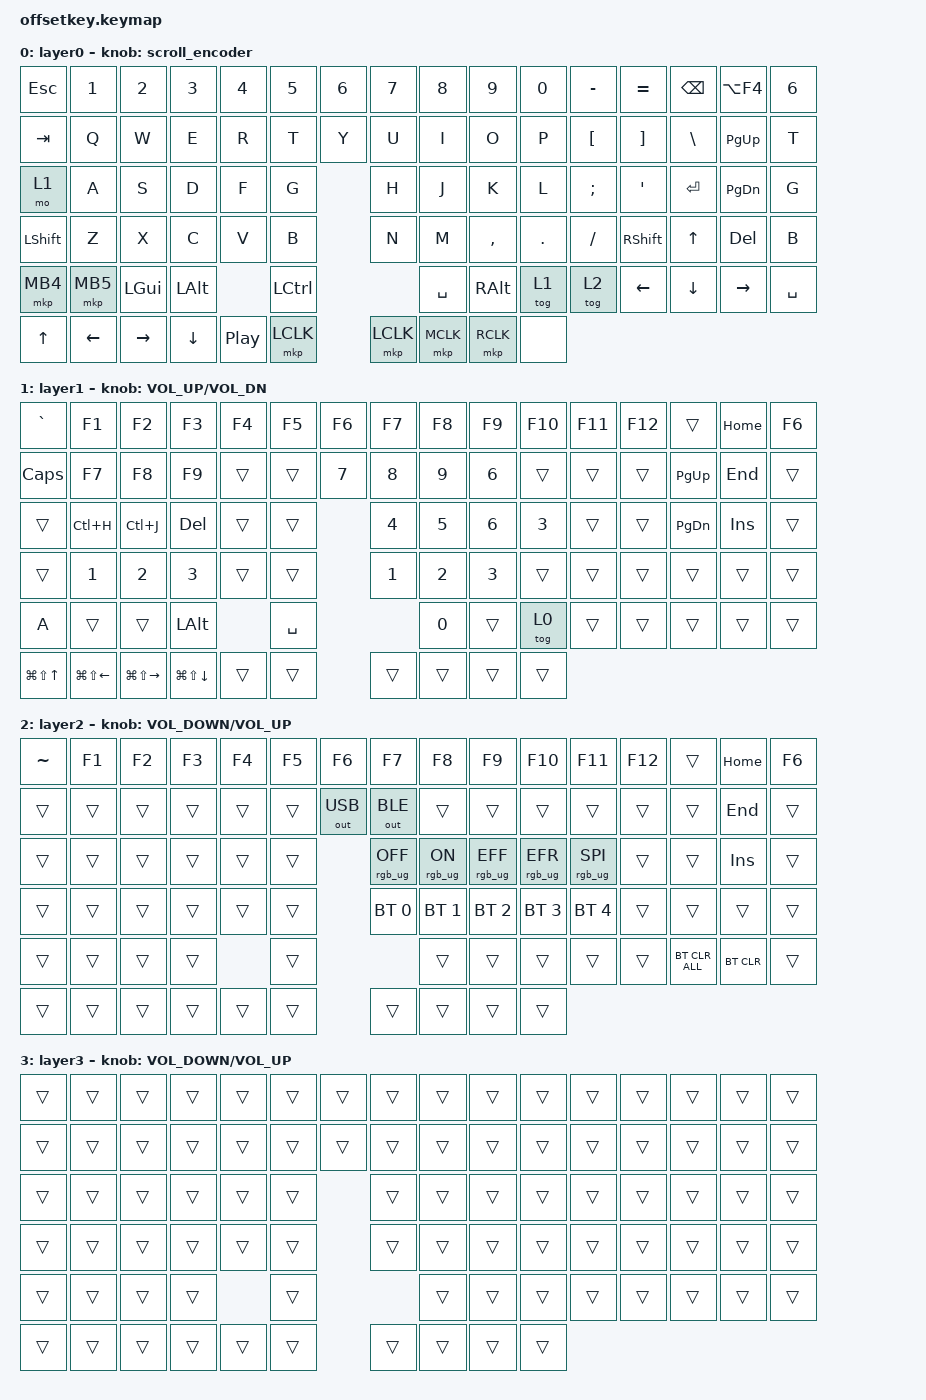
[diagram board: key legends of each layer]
#define BASE 0
#define LOWER 1
#define MOUSE_KEYS 2
#define MOUSE_TP 3
#define MOUSE_TP_SET 4

#include <zephyr/dt-bindings/input/input-event-codes.h>
#include <behaviors/toggle_io.dtsi>
#include <behaviors/on_io.dtsi>
#include <behaviors/off_io.dtsi>
#include <input/processors.dtsi>
#include <behaviors.dtsi>
#include <dt-bindings/zmk/bt.h>
#include <dt-bindings/zmk/keys.h>
#include <dt-bindings/zmk/outputs.h>
#include <dt-bindings/zmk/pointing.h>
#include <dt-bindings/zmk/rgb.h>

#define ZMK_POINTING_DEFAULT_MOVE_VAL 1200  // 600
#define ZMK_POINTING_DEFAULT_SCRL_VAL 100

&mmv_input_listener { input-processors = <&zip_xy_scaler 3 1>; };

&msc_input_listener { input-processors = <&zip_scroll_scaler 2 1>; };

&msc {
    acceleration-exponent = <0>;      // 0
    time-to-max-speed-ms = <0>;       // 300
    delay-ms = <0>;                   // 0
};

&mmv {
    time-to-max-speed-ms = <400>;
    acceleration-exponent = <1>;
    trigger-period-ms = <8>;
};

&left_encoder {
    resolution = <1>;
    steps = <40>;
};

/ {
    scroll_encoder: scroll_encoder {
        compatible = "zmk,behavior-sensor-rotate";
        #sensor-binding-cells = <0>;
        bindings = <&msc SCRL_UP>, <&msc SCRL_DOWN>;

        tap-ms = <20>;
    };

    behaviors {
        ltq: ltq {
            compatible = "zmk,behavior-hold-tap";
            label = "LTQ";
            bindings = <&mo>, <&kp>;

            #binding-cells = <2>;
            tapping-term-ms = <200>;
            quick-tap-ms = <180>;
        };
    };



    combos {
        compatible = "zmk,combos";

        flash {
            bindings = <&bootloader>;
            key-positions = <0 11>;
        };
    };

    keymap {
        compatible = "zmk,keymap";

        BASE {
            bindings = <
&kp ESC       &kp N1    &kp N2        &kp N3          &kp N4            &kp N5     &kp N6      &kp N7     &kp N8     &kp N9         &kp N0   &kp MINUS  &kp EQUAL  &kp BSPC      &kp LA(F4)                &kp NUMBER_6
&kp TAB       &kp Q     &kp W         &kp E           &kp R             &kp T                  &kp Y      &kp U      &kp I          &kp O    &kp P      &kp LBKT   &kp RBKT      &kp BSLH       &kp PG_UP  &kp T
&mo 1         &kp A     &kp S         &kp D           &kp F             &kp G                  &kp H      &kp J      &kp K          &kp L    &kp SEMI   &kp APOS   &kp ENTER     &kp PAGE_DOWN             &kp G
&kp LSHFT     &kp Z     &kp X         &kp C           &kp V             &kp B                  &kp N      &kp M      &kp COMMA      &kp DOT  &kp FSLH   &kp RSHFT  &kp UP_ARROW  &kp DELETE                &kp B
&mkp MB4      &mkp MB5  &kp LEFT_GUI  &kp LALT                          &kp LCTRL                         &kp SPACE  &kp RIGHT_ALT  &tog 1   &tog 2     &kp LEFT   &kp DOWN      &kp RIGHT                 &kp SPACE
&kp UP_ARROW  &kp LEFT  &kp RIGHT     &kp DOWN_ARROW  &kp C_PLAY_PAUSE  &mkp LCLK              &mkp LCLK  &mkp MCLK  &mkp RCLK      &none
            >;

            label = "layer0";
            sensor-bindings = <&scroll_encoder>;
        };

        layer_1 {
            bindings = <
&kp GRAVE             &kp F1                  &kp F2             &kp F3            &kp F4  &kp F5     &kp F6      &kp F7        &kp F8        &kp F9        &kp F10       &kp F11  &kp F12  &trans     &kp HOME             &kp F6
&kp CAPSLOCK          &kp F7                  &kp F8             &kp F9            &trans  &trans                 &kp NUMBER_7  &kp NUMBER_8  &kp NUMBER_9  &kp NUMBER_6  &trans   &trans   &trans     &kp PG_UP   &kp END  &trans
&trans                &kp LC(H)               &kp LC(J)          &kp DELETE        &trans  &trans                 &kp NUMBER_4  &kp NUMBER_5  &kp NUMBER_6  &kp NUMBER_3  &trans   &trans   &kp PG_DN  &kp INSERT           &trans
&trans                &kp NUMBER_1            &kp NUMBER_2       &kp NUMBER_3      &trans  &trans                 &kp NUMBER_1  &kp NUMBER_2  &kp NUMBER_3  &trans        &trans   &trans   &trans     &trans               &trans
&kp A                 &trans                  &trans             &kp LEFT_ALT              &kp SPACE                            &kp N0        &trans        &tog 0        &trans   &trans   &trans     &trans               &trans
&kp LG(LS(UP_ARROW))  &kp LG(LS(LEFT_ARROW))  &kp LG(LS(RIGHT))  &kp LG(LS(DOWN))  &trans  &trans                 &trans        &trans        &trans        &trans
            >;

            label = "layer1";
            sensor-bindings = <&inc_dec_kp C_VOLUME_UP C_VOL_DN>;
        };

        layer_2 {
            bindings = <
&kp TILDE  &kp F1  &kp F2  &kp F3  &kp F4  &kp F5  &kp F6      &kp F7           &kp F8          &kp F9           &kp F10          &kp F11          &kp F12  &trans          &kp HOME             &kp F6
&trans     &trans  &trans  &trans  &trans  &trans              &out OUT_USB     &out OUT_BLE    &trans           &trans           &trans           &trans   &trans          &trans      &kp END  &trans
&trans     &trans  &trans  &trans  &trans  &trans              &rgb_ug RGB_OFF  &rgb_ug RGB_ON  &rgb_ug RGB_EFF  &rgb_ug RGB_EFR  &rgb_ug RGB_SPI  &trans   &trans          &kp INSERT           &trans
&trans     &trans  &trans  &trans  &trans  &trans              &bt BT_SEL 0     &bt BT_SEL 1    &bt BT_SEL 2     &bt BT_SEL 3     &bt BT_SEL 4     &trans   &trans          &trans               &trans
&trans     &trans  &trans  &trans          &trans                               &trans          &trans           &trans           &trans           &trans   &bt BT_CLR_ALL  &bt BT_CLR           &trans
&trans     &trans  &trans  &trans  &trans  &trans              &trans           &trans          &trans           &trans
            >;

            label = "layer2";
            sensor-bindings = <&inc_dec_kp C_VOLUME_DOWN C_VOLUME_UP>;
        };

        layer_3 {
            bindings = <
&trans  &trans  &trans  &trans  &trans  &trans  &trans      &trans  &trans  &trans  &trans  &trans  &trans  &trans  &trans          &trans
&trans  &trans  &trans  &trans  &trans  &trans              &trans  &trans  &trans  &trans  &trans  &trans  &trans  &trans  &trans  &trans
&trans  &trans  &trans  &trans  &trans  &trans              &trans  &trans  &trans  &trans  &trans  &trans  &trans  &trans          &trans
&trans  &trans  &trans  &trans  &trans  &trans              &trans  &trans  &trans  &trans  &trans  &trans  &trans  &trans          &trans
&trans  &trans  &trans  &trans          &trans                      &trans  &trans  &trans  &trans  &trans  &trans  &trans          &trans
&trans  &trans  &trans  &trans  &trans  &trans              &trans  &trans  &trans  &trans
            >;

            label = "layer3";
            sensor-bindings = <&inc_dec_kp C_VOLUME_DOWN C_VOLUME_UP>;
        };
    };
};
